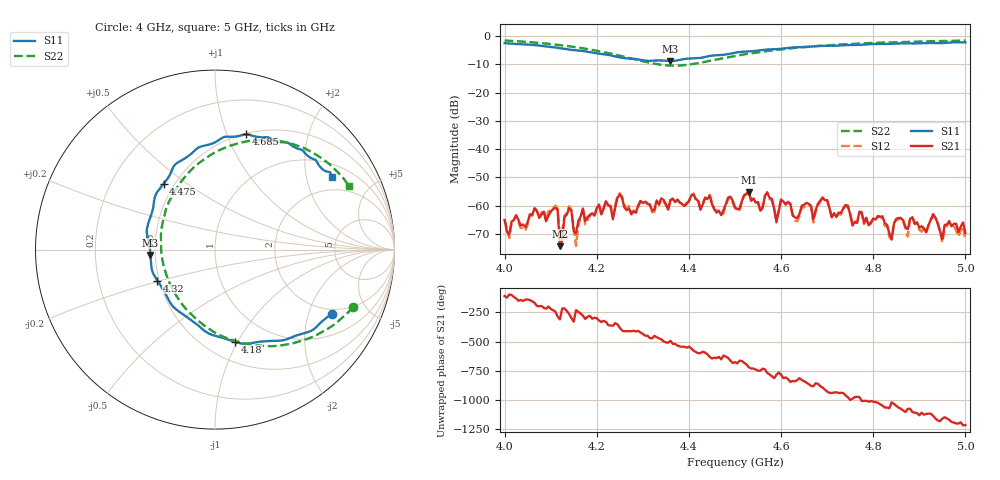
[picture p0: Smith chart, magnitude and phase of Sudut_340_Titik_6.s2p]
# Hz S RI R 50
! CMT, C1220, 16058040, 17.2.0/1
! Date: 15/08/2018 12:14:40
! Data: Format (Calibration Info)
! Freq  S11: Re/Im (F2)  S21: Re/Im (F2)  S12: Re/Im (F2)  S22: Re/Im (F2)
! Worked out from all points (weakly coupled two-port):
!   201 points, 4 GHz to 5 GHz, reference 50 ohm
!   highest |S21| = -55.13 dB at 4.53 GHz (marker M1); lowest = -74.3 dB at 4.12 GHz (marker M2)
!   lowest |S11| = -8.9 dB at 4.36 GHz (marker M3), VSWR 2.13, Z = 23.5 - j1.59 ohm
!   |S11| at or under -10 dB: nowhere
!   |S22| runs from -10.5 to -1.6 dB; largest |S21 - S12| = 0.00016
!   S11 on the Smith chart (normalised r, x): 4 GHz: 1.79, -2.88; 4.18 GHz: 0.69, -0.98; 4.32 GHz: 0.49, -0.19; 4.475 GHz: 0.44, +0.41; 4.685 GHz: 0.51, +1.17; 5 GHz: 1.44, +2.85
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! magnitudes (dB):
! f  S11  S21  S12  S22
! 4 GHz  -2.6  -65.1  -64.9  -1.6
! 4.01 GHz  -2.7  -70.3  -71.5  -1.7
! 4.11 GHz  -4.1  -60.8  -60.0  -3.1
! 4.12 GHz  -4.3  -74.3  -70.7  -3.2
! 4.14 GHz  -4.8  -60.9  -60.2  -3.7
! 4.155 GHz  -5.1  -69.8  -74.2  -4.0
! 4.17 GHz  -5.3  -61.0  -61.3  -4.4
! 4.18 GHz  -5.6  -64.0  -65.0  -4.7
! 4.235 GHz  -7.1  -64.8  -63.7  -6.4
! 4.25 GHz  -7.6  -56.1  -55.7  -7.0
! 4.32 GHz  -8.8  -61.7  -62.3  -9.6
! 4.335 GHz  -8.6  -59.6  -59.7  -10.1
! 4.36 GHz  -8.9  -58.0  -58.0  -10.5
! 4.475 GHz  -6.6  -61.5  -62.8  -7.9
! 4.5 GHz  -5.9  -60.6  -61.0  -7.1
! 4.53 GHz  -5.5  -55.1  -55.2  -6.3
! 4.67 GHz  -3.7  -64.9  -65.9  -3.7
! 4.685 GHz  -3.5  -58.2  -58.6  -3.5
! 4.835 GHz  -2.8  -69.9  -71.0  -2.3
! 4.93 GHz  -2.5  -63.0  -63.5  -1.9
! 4.95 GHz  -2.5  -71.8  -73.0  -1.8
! 5 GHz  -2.3  -69.7  -72.3  -1.6
